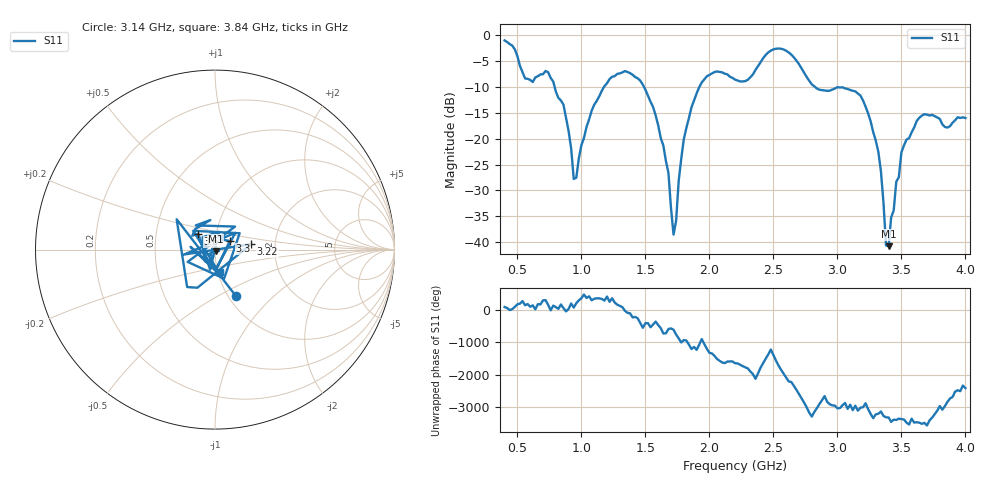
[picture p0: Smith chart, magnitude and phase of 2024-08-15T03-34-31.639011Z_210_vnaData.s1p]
!Created with skrf (http://scikit-rf.org).
# Hz S RI R 50.0
!freq ReS11 ImS11
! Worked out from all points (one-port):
!   181 points, 400 MHz to 4 GHz, reference 50 ohm
!   lowest |S11| = -40.8 dB at 3.4 GHz (marker M1), VSWR 1.02, Z = 50.4 - j0.845 ohm
!   |S11| at or under -10 dB: 790.5 MHz to 1.177 GHz (386.7 MHz wide, 39.3 % of centre); 1.488 GHz to 1.922 GHz (433.7 MHz wide, 25.4 % of centre); 2.824 GHz to end of sweep
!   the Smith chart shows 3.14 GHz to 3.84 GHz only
!   S11 on the Smith chart (normalised r, x): 3.14 GHz: 1.09, -0.62; 3.22 GHz: 1.50, +0.09; 3.3 GHz: 1.17, +0.11; 3.6 GHz: 0.82, +0.15; 3.84 GHz: 1.02, -0.26
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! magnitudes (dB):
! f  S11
! 400 MHz  -1.1
! 740 MHz  -7.2
! 860 MHz  -13.5
! 940 MHz  -27.8
! 960 MHz  -27.5
! 1.08 GHz  -14.6
! 1.3 GHz  -7.4
! 1.56 GHz  -13.9
! 1.68 GHz  -26.6
! 1.72 GHz  -38.5
! 1.76 GHz  -28.2
! 1.82 GHz  -17.9
! 1.94 GHz  -9.2
! 2.2 GHz  -8.6
! 2.66 GHz  -4.3
! 2.84 GHz  -10.3
! 3.1 GHz  -10.6
! 3.14 GHz  -10.9
! 3.22 GHz  -13.8
! 3.3 GHz  -20.4
! 3.34 GHz  -26.3
! 3.38 GHz  -40.6
! 3.4 GHz  -40.8
! 3.5 GHz  -22.7
! 3.56 GHz  -19.9
! 3.6 GHz  -17.8
! 3.84 GHz  -17.7
! 4 GHz  -16.0
